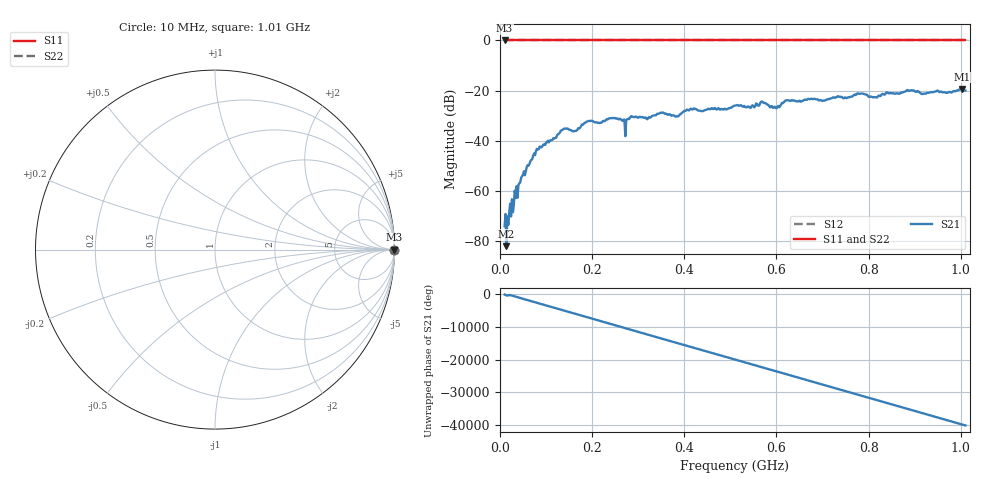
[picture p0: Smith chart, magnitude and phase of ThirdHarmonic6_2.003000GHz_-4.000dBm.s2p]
! 8/17/2025 12:03:34 AM
! C:\ANRITSUVNA\TEMP\TEMP.S2P
! CHANNEL.1
! TR.MEASUREMENT
! RAW.DATA
! RF.CORRECTION.OFF
! AVERAGING.OFF
! IF.BANDWIDTH: 5KHZ
! SWEEPTYPE:  FREQ.SWEEP(Linear)
! Reference Plane Port Info
! PORT:  PORT1  PORT2
! DISTANCE:  0  m  0  m
! TIME:  0  s  0  s
! PHASE.OFFSET:  0  deg.  0  deg.
! LOSS:  0  dB  0  dB
! REF.LOSS:  0  dB  0  dB
! REF.FREQ:  0  Hz  0  Hz
! Power Info
! POWER:  -20  dBm  -20  dBm
! EFF.POWER:  -20  dBm  -20  dBm
! SOURCE.ATTEN:  0  dB  0  dB
! TEST.ATTEN:  0  dB  0  dB
# GHZ S RI R 50.0
! FREQ.GHZ  S11RE  S11IM  S21RE  S21IM  S12RE  S12IM  S22RE  S22IM
!; PortSelection: Port_12
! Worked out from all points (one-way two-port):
!   501 points, 10 MHz to 1.01 GHz, reference 50 ohm
!   highest |S21| = -19.38 dB at 1.002 GHz (marker M1); lowest = -82.0 dB at 14 MHz (marker M2)
!   lowest |S11| = 0.0 dB at 10 MHz (marker M3)
!   |S11| at or under -10 dB: nowhere
!   |S22| runs from 0.0 to 0.0 dB; largest |S21 - S12| = 1.1
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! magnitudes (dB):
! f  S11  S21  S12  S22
! 10 MHz  0.0  -74.0  0.0  0.0
! 14 MHz  0.0  -82.0  0.0  0.0
! 44 MHz  0.0  -56.5  0.0  0.0
! 82 MHz  0.0  -43.4  0.0  0.0
! 136 MHz  0.0  -35.6  0.0  0.0
! 162 MHz  0.0  -36.0  0.0  0.0
! 178 MHz  0.0  -33.5  0.0  0.0
! 242 MHz  0.0  -30.9  0.0  0.0
! 270 MHz  0.0  -31.5  0.0  0.0
! 286 MHz  0.0  -30.2  0.0  0.0
! 344 MHz  0.0  -29.2  0.0  0.0
! 384 MHz  0.0  -30.1  0.0  0.0
! 418 MHz  0.0  -27.5  0.0  0.0
! 510 MHz  0.0  -25.9  0.0  0.0
! 570 MHz  0.0  -24.5  0.0  0.0
! 596 MHz  0.0  -26.4  0.0  0.0
! 622 MHz  0.0  -23.8  0.0  0.0
! 678 MHz  0.0  -23.3  0.0  0.0
! 814 MHz  0.0  -22.6  0.0  0.0
! 844 MHz  0.0  -21.1  0.0  0.0
! 1.002 GHz  0.0  -19.4  0.0  0.0
! 1.01 GHz  0.0  -19.9  0.0  0.0
